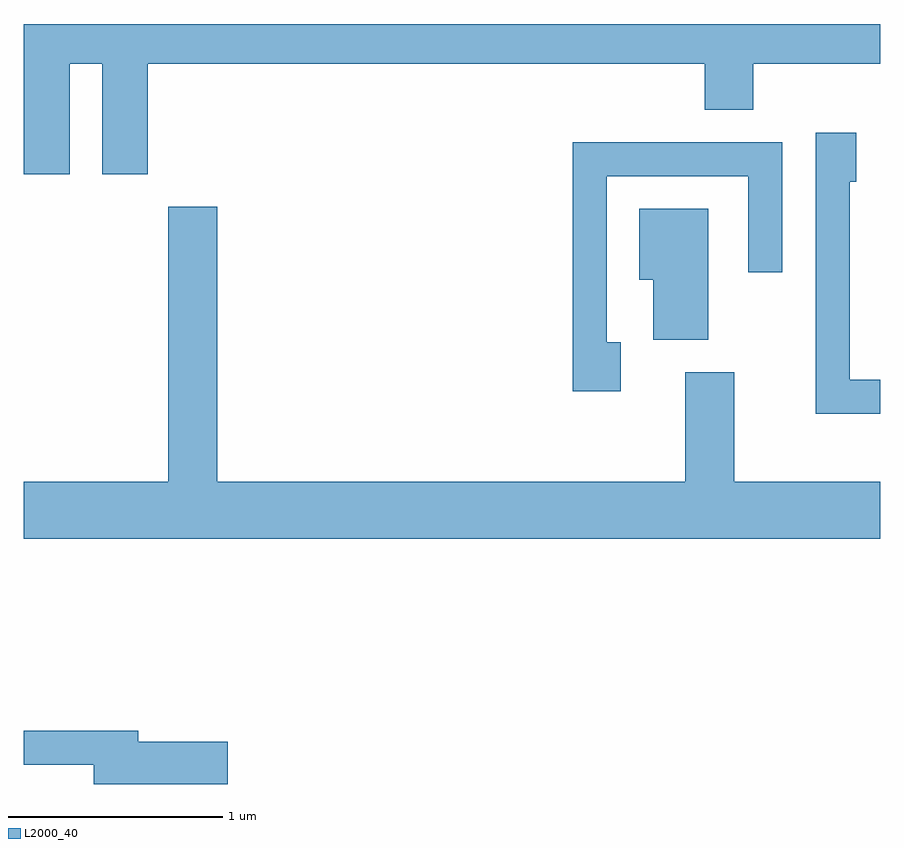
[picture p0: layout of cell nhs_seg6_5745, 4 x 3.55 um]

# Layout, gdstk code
import gdstk
lib = gdstk.Library(unit=1e-6, precision=1e-09)
def P(c, l, *ps):  # polygons
    for p in ps: c.add(gdstk.Polygon(p, *l))
L2000_40 = (2000, 40)

nhs_seg6_5745 = lib.new_cell('nhs_seg6_5745')
P(nhs_seg6_5745, L2000_40, [(359.824,1609.976),(359.976,1609.976),(359.976,1609.461),(360.189,1609.461),(360.189,1609.976),(362.791,1609.976),(362.791,1609.761),(363.019,1609.761),(363.019,1609.976),(363.611,1609.976),(363.611,1610.162),(359.611,1610.162),(359.611,1609.461),(359.824,1609.461)],
  [(363.611,1608.499),(363.469,1608.499),(363.469,1609.426),(363.499,1609.426),(363.499,1609.654),(363.311,1609.654),(363.311,1608.341),(363.611,1608.341)],
  [(362.399,1608.674),(362.334,1608.674),(362.334,1609.451),(362.996,1609.451),(362.996,1609.003),(363.154,1609.003),(363.154,1609.609),(362.176,1609.609),(362.176,1608.446),(362.399,1608.446)],
  [(363.611,1608.024),(362.929,1608.024),(362.929,1608.534),(362.701,1608.534),(362.701,1608.024),(360.514,1608.024),(360.514,1609.309),(360.286,1609.309),(360.286,1608.024),(359.611,1608.024),(359.611,1607.756),(363.611,1607.756)],
  [(362.809,1609.299),(362.486,1609.299),(362.486,1608.966),(362.551,1608.966),(362.551,1608.686),(362.809,1608.686)],
  [(360.564,1606.809),(360.144,1606.809),(360.144,1606.859),(359.611,1606.859),(359.611,1606.701),(359.936,1606.701),(359.936,1606.611),(360.564,1606.611)])

lib.write_gds('nhs_seg6_5745.gds')
